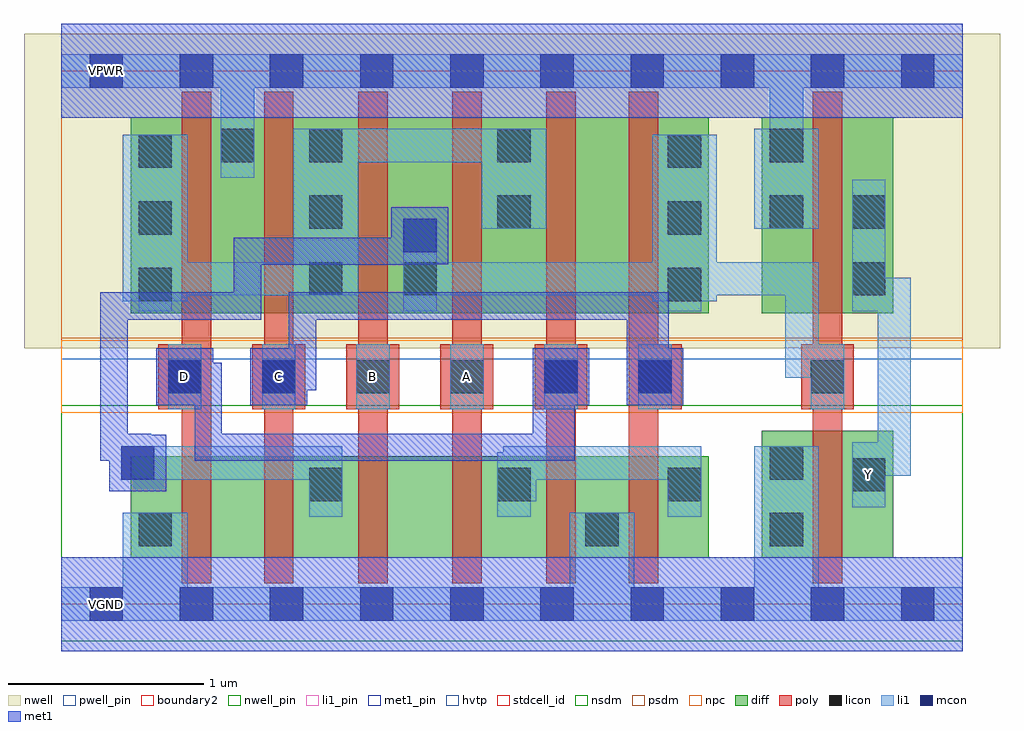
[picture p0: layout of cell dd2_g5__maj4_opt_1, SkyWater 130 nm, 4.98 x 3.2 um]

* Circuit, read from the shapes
.subckt dd2_g5__maj4_opt_1 A B C D VGND VNB VPB VPWR Y
XM1 n1 D VGND VNB sky130_fd_pr__nfet_01v8 w=0.52 l=0.15
XM2 n2 C n1 VNB sky130_fd_pr__nfet_01v8 w=0.52 l=0.15
XM3 n3 B n2 VNB sky130_fd_pr__nfet_01v8 w=0.52 l=0.15
XM4 n4 A n3 VNB sky130_fd_pr__nfet_01v8 w=0.52 l=0.15
XM5 VGND D n4 VNB sky130_fd_pr__nfet_01v8 w=0.52 l=0.15
XM6 n4 C VGND VNB sky130_fd_pr__nfet_01v8 w=0.52 l=0.15
XM7 Y n2 VGND VNB sky130_fd_pr__nfet_01v8 w=0.65 l=0.15
XM8 VPWR D n5 VPB sky130_fd_pr__pfet_01v8_hvt w=1 l=0.15
XM9 n5 C VPWR VPB sky130_fd_pr__pfet_01v8_hvt w=1 l=0.15
XM10 n2 B n5 VPB sky130_fd_pr__pfet_01v8_hvt w=1 l=0.15
XM11 n5 A n2 VPB sky130_fd_pr__pfet_01v8_hvt w=1 l=0.15
XM12 n6 D n5 VPB sky130_fd_pr__pfet_01v8_hvt w=1 l=0.15
XM13 n2 C n6 VPB sky130_fd_pr__pfet_01v8_hvt w=1 l=0.15
XM14 Y n2 VPWR VPB sky130_fd_pr__pfet_01v8_hvt w=1 l=0.15
.ends

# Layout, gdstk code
import gdstk
lib = gdstk.Library(unit=1e-6, precision=1e-09)
def R(c, l, rs):  # rectangles x0, y0, x1, y1
    for r in rs: c.add(gdstk.rectangle(r[:2], r[2:], *l))
def A(c, l, x, y, w, h, nx, ny, dx, dy):  # array of equal rectangles
    R(c, l, [(x+i*dx, y+j*dy, x+i*dx+w, y+j*dy+h) for i in range(nx) for j in range(ny)])
nwell_pin = (64, 16)
nwell = (64, 20)
diff = (65, 20)
poly = (66, 20)
licon = (66, 44)
li1_pin = (67, 16)
li1 = (67, 20)
mcon = (67, 44)
met1_pin = (68, 16)
met1 = (68, 20)
hvtp = (78, 44)
stdcell_id = (81, 4)
nsdm = (93, 44)
psdm = (94, 20)
npc = (95, 20)
pwell_pin = (122, 16)
boundary2 = (236, 0)

dd2_g5__maj4_opt_1 = lib.new_cell('dd2_g5__maj4_opt_1')
R(dd2_g5__maj4_opt_1, nwell_pin, [(0.145,2.635,0.315,2.805)])
R(dd2_g5__maj4_opt_1, nwell, [(-0.19,1.305,4.79,2.91)])
R(dd2_g5__maj4_opt_1, diff, [(0.355,0.235,1.11,0.755), (0.69,0.235,1.59,0.755), (1.11,0.235,2.07,0.755), (1.59,0.235,2.55,0.755), (2.07,0.235,2.97,0.755), (2.55,0.235,3.305,0.755), (3.575,0.235,4.245,0.885), (0.355,1.485,1.11,2.485), (0.69,1.485,1.59,2.485), (1.11,1.485,2.07,2.485), (1.59,1.485,2.55,2.485), (2.07,1.485,2.97,2.485), (2.55,1.485,3.305,2.485), (3.575,1.485,4.245,2.485)])
A(dd2_g5__maj4_opt_1, poly, 1.035, 0.105, 0.15, 2.51, 4, 1, 0.48, 0)
A(dd2_g5__maj4_opt_1, poly, 0.495, 0.995, 0.27, 0.33, 6, 1, 0.48, 0)
R(dd2_g5__maj4_opt_1, poly, [(0.615,0.105,0.765,2.615), (2.895,0.105,3.045,2.615), (3.835,0.105,3.985,2.615), (3.775,0.995,4.045,1.325)])
A(dd2_g5__maj4_opt_1, licon, 0.545, 1.075, 0.17, 0.17, 6, 1, 0.48, 0)
A(dd2_g5__maj4_opt_1, licon, 0.395, 1.545, 0.17, 0.17, 1, 3, 0, 0.34)
A(dd2_g5__maj4_opt_1, licon, 3.095, 1.545, 0.17, 0.17, 1, 3, 0, 0.34)
A(dd2_g5__maj4_opt_1, licon, 1.265, 1.575, 0.17, 0.17, 1, 3, 0, 0.34)
R(dd2_g5__maj4_opt_1, licon, [(0.395,0.295,0.565,0.465), (2.675,0.295,2.845,0.465), (3.615,0.295,3.785,0.465), (1.265,0.525,1.435,0.695), (2.225,0.525,2.395,0.695), (3.095,0.525,3.265,0.695), (4.035,0.575,4.205,0.745), (3.615,0.635,3.785,0.805), (3.825,1.075,3.995,1.245), (1.745,1.575,1.915,1.745), (4.035,1.575,4.205,1.745), (2.225,1.915,2.395,2.085), (3.615,1.915,3.785,2.085), (4.035,1.915,4.205,2.085), (0.815,2.255,0.985,2.425), (2.225,2.255,2.395,2.425), (3.615,2.255,3.785,2.425)])
A(dd2_g5__maj4_opt_1, li1_pin, 0.555, 1.085, 0.15, 0.15, 6, 1, 0.48, 0)
R(dd2_g5__maj4_opt_1, li1_pin, [(0.145,-0.085,0.315,0.085), (4.045,0.585,4.195,0.735), (0.145,2.635,0.315,2.805)])
A(dd2_g5__maj4_opt_1, li1, 0.545, 0.995, 0.17, 0.33, 6, 1, 0.48, 0)
R(dd2_g5__maj4_opt_1, li1, [(0,-0.085,4.6,0.085), (0.315,0.085,0.645,0.465), (2.595,0.085,2.925,0.465), (3.535,0.085,3.865,0.805), (1.265,0.445,1.435,0.635), (2.225,0.445,2.395,0.525), (3.095,0.445,3.265,0.635), (4.035,0.495,4.205,0.655), (2.225,0.525,2.425,0.635), (0.305,0.635,1.435,0.805), (2.225,0.635,3.265,0.775), (4.035,0.655,4.335,0.825), (2.255,0.775,3.265,0.805), (4.165,0.825,4.335,1.495), (3.825,0.995,3.995,1.155), (3.695,1.155,3.995,1.325), (3.695,1.325,3.865,1.575), (0.395,1.495,0.565,1.545), (1.745,1.495,1.915,1.575), (3.095,1.495,3.265,1.545), (4.035,1.495,4.335,1.665), (0.315,1.545,0.645,1.575), (3.015,1.545,3.345,1.575), (0.315,1.575,1.515,1.745), (1.745,1.575,3.865,1.745), (4.035,1.665,4.205,2.165), (0.315,1.745,0.645,2.395), (1.185,1.745,1.515,2.255), (1.745,1.745,1.915,1.965), (3.015,1.745,3.345,2.395), (2.145,1.915,2.475,2.255), (3.535,1.915,3.865,2.425), (0.815,2.175,0.985,2.635), (1.185,2.255,2.475,2.425), (3.615,2.425,3.785,2.635), (0,2.635,4.6,2.805)])
A(dd2_g5__maj4_opt_1, mcon, 0.145, -0.085, 0.17, 0.17, 10, 2, 0.46, 2.72)
R(dd2_g5__maj4_opt_1, mcon, [(0.305,0.635,0.475,0.805), (0.545,1.075,0.715,1.245), (1.025,1.075,1.195,1.245), (2.465,1.075,2.635,1.245), (2.945,1.075,3.115,1.245), (1.745,1.795,1.915,1.965)])
R(dd2_g5__maj4_opt_1, met1_pin, [(0.145,-0.085,0.315,0.085), (0.145,2.635,0.315,2.805)])
R(dd2_g5__maj4_opt_1, met1, [(0,-0.24,4.6,0.24), (0.245,0.575,0.535,0.73), (0.2,0.73,0.535,0.865), (0.68,0.73,2.62,0.87), (0.2,0.865,0.46,0.87), (0.2,0.87,0.34,1.45), (0.68,0.87,0.82,1.015), (2.405,0.87,2.62,1.015), (0.485,1.015,0.82,1.23), (0.965,1.015,1.255,1.09), (2.405,1.015,2.695,1.305), (2.885,1.015,3.175,1.305), (0.965,1.09,1.3,1.305), (0.485,1.23,0.775,1.305), (1.16,1.305,1.3,1.45), (2.885,1.305,3.1,1.45), (0.2,1.45,1.02,1.59), (1.16,1.45,3.1,1.59), (0.88,1.59,1.02,1.73), (0.88,1.73,1.9,1.735), (0.88,1.735,1.975,1.87), (1.685,1.87,1.975,2.025), (0,2.48,4.6,2.96)])
R(dd2_g5__maj4_opt_1, hvtp, [(0,1.25,4.6,2.72)])
R(dd2_g5__maj4_opt_1, stdcell_id, [(0,0,4.6,2.72)])
R(dd2_g5__maj4_opt_1, nsdm, [(0,-0.19,4.6,1.015)])
R(dd2_g5__maj4_opt_1, psdm, [(0,1.355,4.6,2.91)])
R(dd2_g5__maj4_opt_1, npc, [(0,0.975,4.6,1.345)])
R(dd2_g5__maj4_opt_1, pwell_pin, [(0.145,-0.085,0.315,0.085)])
R(dd2_g5__maj4_opt_1, boundary2, [(0,0,4.6,2.72)])
dd2_g5__maj4_opt_1.add(gdstk.Label('VPWR', (0.23,2.72), layer=68, texttype=5))
dd2_g5__maj4_opt_1.add(gdstk.Label('VGND', (0.23,0), layer=68, texttype=5))
dd2_g5__maj4_opt_1.add(gdstk.Label('VPWR', (0.23,2.72), layer=67, texttype=5))
dd2_g5__maj4_opt_1.add(gdstk.Label('VGND', (0.23,0), layer=67, texttype=5))
dd2_g5__maj4_opt_1.add(gdstk.Label('A', (2.07,1.16), layer=67, texttype=5))
dd2_g5__maj4_opt_1.add(gdstk.Label('B', (1.59,1.16), layer=67, texttype=5))
dd2_g5__maj4_opt_1.add(gdstk.Label('C', (1.11,1.16), layer=67, texttype=5))
dd2_g5__maj4_opt_1.add(gdstk.Label('D', (0.63,1.16), layer=67, texttype=5))
dd2_g5__maj4_opt_1.add(gdstk.Label('Y', (4.12,0.66), layer=67, texttype=5))
dd2_g5__maj4_opt_1.add(gdstk.Label('VPB', (0.23,2.72), layer=64, texttype=5))
dd2_g5__maj4_opt_1.add(gdstk.Label('VNB', (0.23,0), layer=64, texttype=59))

lib.write_gds('dd2_g5__maj4_opt_1.gds')
